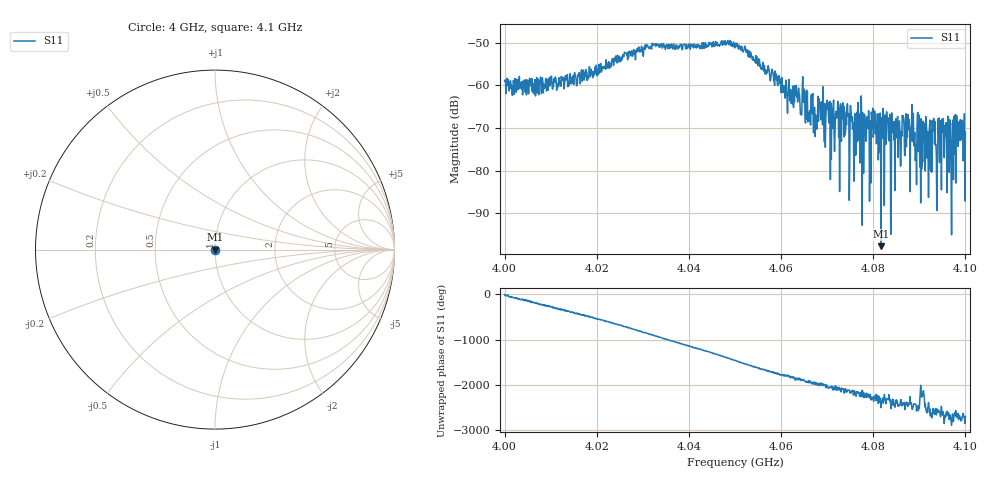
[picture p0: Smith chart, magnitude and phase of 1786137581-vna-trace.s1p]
! Created with skrf 1.10.0 (http://scikit-rf.org).
# Hz S RI R 50.0
!freq ReS11 ImS11
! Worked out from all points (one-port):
!   1001 points, 4 GHz to 4.1 GHz, reference 50 ohm
!   lowest |S11| = -97.7 dB at 4.0817 GHz (marker M1), VSWR 1.00, Z = 50 + j0.000407 ohm
!   |S11| at or under -10 dB: start of sweep to end of sweep
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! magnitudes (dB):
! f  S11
! 4 GHz  -59.0
! 4.0125 GHz  -58.6
! 4.025 GHz  -54.5
! 4.0375 GHz  -51.5
! 4.05 GHz  -51.2
! 4.0625 GHz  -63.4
! 4.0675 GHz  -67.0
! 4.0687 GHz  -65.0
! 4.0712 GHz  -70.1
! 4.0733 GHz  -64.9
! 4.075 GHz  -64.9
! 4.076 GHz  -66.7
! 4.0769 GHz  -71.0
! 4.078 GHz  -72.8
! 4.0801 GHz  -71.1
! 4.0812 GHz  -74.1
! 4.0817 GHz  -97.7
! 4.0875 GHz  -66.8
! 4.0908 GHz  -68.4
! 4.0919 GHz  -75.2
! 4.0922 GHz  -69.6
! 4.0931 GHz  -67.8
! 4.0941 GHz  -67.8
! 4.0954 GHz  -76.9
! 4.0974 GHz  -82.1
! 4.0977 GHz  -76.1
! 4.0985 GHz  -71.0
! 4.1 GHz  -70.9
